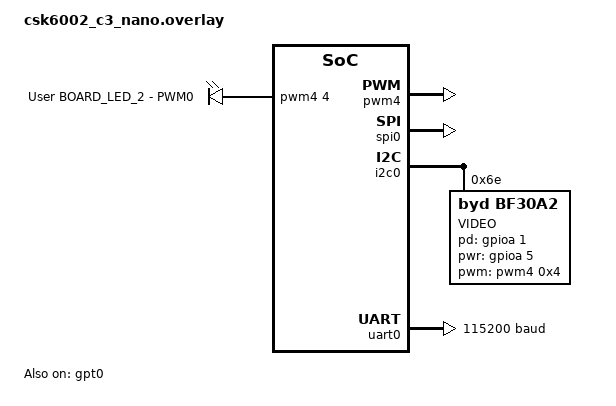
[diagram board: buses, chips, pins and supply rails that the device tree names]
&csk6002_c3_nano_pinctrl{

                pinctrl_pwm4_default: pwm4_default{
                    pinctrls = <&pinmuxa 4 11>;
                };  

                pinctrl_i2c0_scl_default: i2c0_scl_default{
                        pinctrls = <&pinmuxb 0 8>;
                };
                
                pinctrl_i2c0_sda_default: i2c0_sda_default{
                        pinctrls = <&pinmuxb 1 8>;
                };    

                pinctrl_uart1_rx_default: uart1_rx_default{
                        pinctrls = <&pinmuxa 8 3>;
                };
                
                pinctrl_uart1_tx_default: uart1_tx_default{
                        pinctrls = <&pinmuxa 9 3>;
                };     

};

/{
    pwmleds {
		compatible = "pwm-leds";
		green_pwm_led: green_pwm_led {
			pwms = <&pwm4 4 PWM_POLARITY_NORMAL>;
			label = "User BOARD_LED_2 - PWM0";
		};
	};
};

&gpt0 {
	status = "okay";

    pwm5: pwm5 {
        status = "disabled";
    };

	pwm4: pwm4 {
        clock-prescaler = <1>;
        status = "okay";
    };
};

&spi0 {
    status = "okay";
    spi-max-frequency = <25000000>;
};

&spi1 {
    status = "disabled";
};

&i2c0 {
        status = "okay";

        bf30a2: bf30a2@6e {
            compatible = "byd,bf30a2";
            status = "okay";
            label = "VIDEO";
            reg = <0x6e>;
            pd-gpios = <&gpioa 1 0>;
            pwr-gpios = <&gpioa 5 0>;
            product-id = <0x3b02>;
            spi = <&spi0>;
            pwms = <&pwm4 0x4 0x0>;
            xclk-freq = <12500>;
            csk6-spec;
        };
};

&i2c1 {
    status = "disabled";
};

&uart0 {
    current-speed = <115200>;
};

&uart1 {
    status = "disabled";
    current-speed = <115200>;
};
